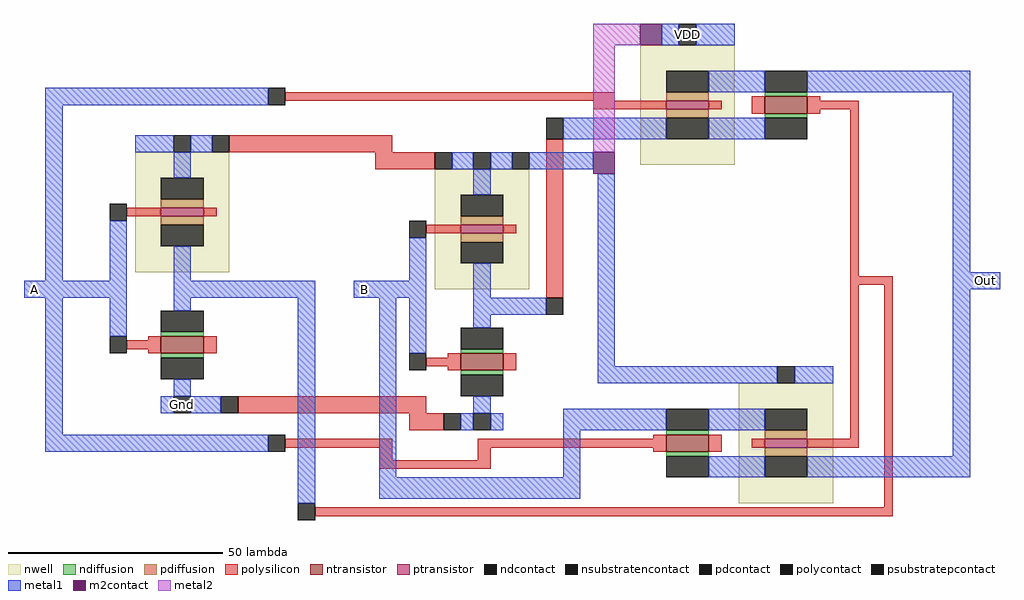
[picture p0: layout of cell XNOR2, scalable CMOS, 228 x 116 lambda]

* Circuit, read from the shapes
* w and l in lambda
.subckt XNOR2 A B Gnd Out VDD
M1 n1 A Gnd Gnd nfet w=10 l=4
M2 n2 B Gnd Gnd nfet w=10 l=4
M3 B A Out Gnd nfet w=10 l=4
M4 Out n1 n2 Gnd nfet w=10 l=4
M5 VDD A n1 n3 pfet w=10 l=2
M6 VDD B n2 n4 pfet w=10 l=2
M7 Out A n2 n5 pfet w=10 l=2
M8 B n1 Out n6 pfet w=10 l=2
.ends

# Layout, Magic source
magic
tech scmos
<< nwell >>
rect 415 58 437 86
rect 533 83 555 111
rect 485 54 507 82
rect 556 4 578 32
<< ntransistor >>
rect 562 95 572 99
rect 421 39 431 43
rect 491 35 501 39
rect 539 16 549 20
<< ptransistor >>
rect 539 96 549 98
rect 421 71 431 73
rect 491 67 501 69
rect 562 17 572 19
<< ndiffusion >>
rect 562 99 572 100
rect 562 94 572 95
rect 421 43 431 44
rect 491 39 501 40
rect 421 38 431 39
rect 491 34 501 35
rect 539 20 549 21
rect 539 15 549 16
<< pdiffusion >>
rect 539 98 549 100
rect 539 94 549 96
rect 421 73 431 75
rect 421 69 431 71
rect 491 69 501 71
rect 491 65 501 67
rect 562 19 572 21
rect 562 15 572 17
<< ndcontact >>
rect 562 100 572 105
rect 562 89 572 94
rect 421 44 431 49
rect 491 40 501 45
rect 421 33 431 38
rect 491 29 501 34
rect 539 21 549 26
rect 539 10 549 15
<< pdcontact >>
rect 539 100 549 105
rect 539 89 549 94
rect 421 75 431 80
rect 491 71 501 76
rect 421 64 431 69
rect 491 60 501 65
rect 562 21 572 26
rect 562 10 572 15
<< psubstratepcontact >>
rect 424 25 428 29
rect 494 21 498 25
<< nsubstratencontact >>
rect 542 111 546 116
rect 424 86 428 90
rect 494 82 498 86
rect 565 32 569 36
<< polysilicon >>
rect 450 98 527 100
rect 522 96 539 98
rect 549 96 552 98
rect 559 95 562 99
rect 572 98 575 99
rect 572 96 584 98
rect 572 95 575 96
rect 437 86 475 90
rect 471 82 485 86
rect 413 71 421 73
rect 431 71 434 73
rect 483 67 491 69
rect 501 67 504 69
rect 511 52 515 89
rect 582 57 584 96
rect 582 55 592 57
rect 418 42 421 43
rect 413 40 421 42
rect 418 39 421 40
rect 431 39 434 43
rect 488 38 491 39
rect 483 36 491 38
rect 488 35 491 36
rect 501 35 504 39
rect 439 25 483 29
rect 479 21 487 25
rect 536 19 539 20
rect 450 17 475 19
rect 472 14 475 17
rect 495 17 539 19
rect 495 14 498 17
rect 536 16 539 17
rect 549 16 552 20
rect 582 19 584 55
rect 559 17 562 19
rect 572 17 584 19
rect 472 12 498 14
rect 590 3 592 55
rect 457 1 592 3
<< polycontact >>
rect 446 97 450 101
rect 433 86 437 90
rect 511 89 515 94
rect 485 82 489 86
rect 503 82 507 86
rect 409 70 413 74
rect 479 66 483 70
rect 511 48 515 52
rect 409 39 413 43
rect 479 35 483 39
rect 435 25 439 29
rect 487 21 491 25
rect 446 16 450 20
rect 453 0 457 4
<< metal1 >>
rect 538 111 542 116
rect 546 111 555 116
rect 394 97 446 101
rect 549 100 562 105
rect 572 100 610 105
rect 394 56 398 97
rect 415 86 424 90
rect 428 86 433 90
rect 515 89 539 94
rect 549 89 562 94
rect 424 80 428 86
rect 489 82 494 86
rect 498 82 503 86
rect 507 82 522 86
rect 494 76 498 82
rect 409 56 413 70
rect 389 52 413 56
rect 394 20 398 52
rect 409 43 413 52
rect 424 56 428 64
rect 479 56 483 66
rect 424 52 457 56
rect 466 52 483 56
rect 424 49 428 52
rect 424 29 428 33
rect 421 25 424 29
rect 428 25 435 29
rect 394 16 446 20
rect 453 4 457 52
rect 472 10 476 52
rect 479 39 483 52
rect 494 52 498 60
rect 494 48 511 52
rect 494 45 498 48
rect 523 36 527 81
rect 606 58 610 100
rect 606 54 617 58
rect 523 32 565 36
rect 569 32 578 36
rect 494 25 498 29
rect 491 21 494 25
rect 498 21 501 25
rect 515 21 539 26
rect 549 21 562 26
rect 515 10 519 21
rect 606 15 610 54
rect 549 10 562 15
rect 572 10 610 15
rect 472 5 519 10
<< m2contact >>
rect 533 111 538 116
rect 522 81 527 86
<< metal2 >>
rect 522 111 533 116
rect 522 86 527 111
<< labels >>
rlabel metal1 421 25 431 29 1 Gnd
rlabel metal1 610 54 617 58 7 Out
rlabel metal1 389 52 394 56 3 A
rlabel metal1 466 52 471 56 1 B
rlabel metal1 533 111 555 116 5 VDD
<< end >>
